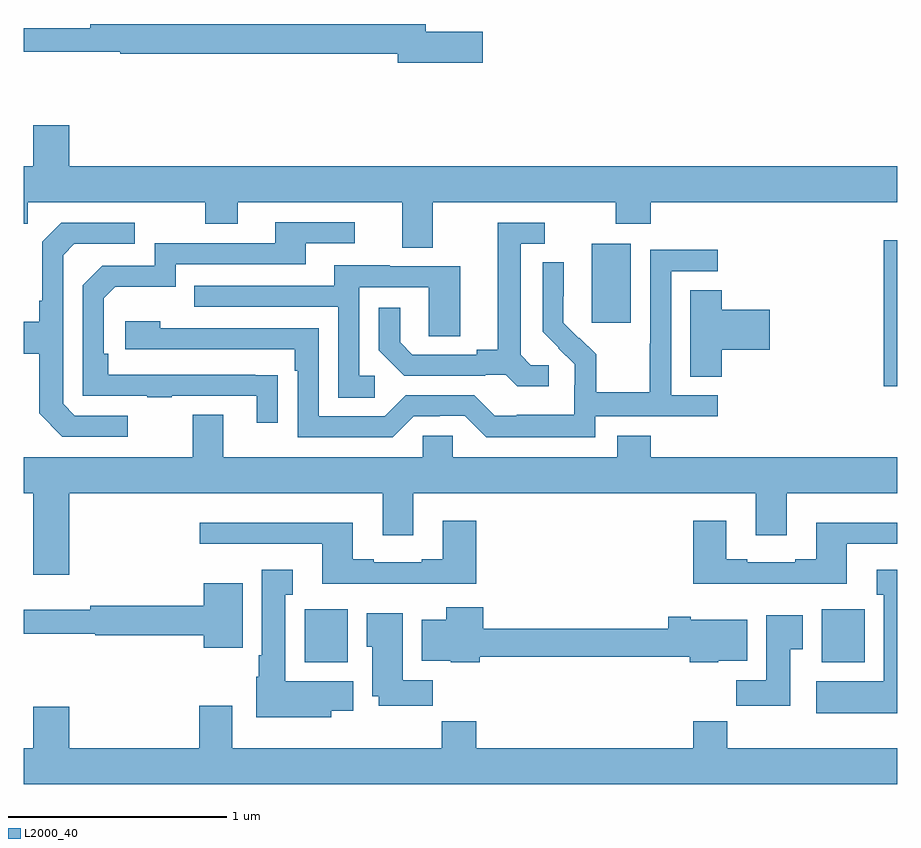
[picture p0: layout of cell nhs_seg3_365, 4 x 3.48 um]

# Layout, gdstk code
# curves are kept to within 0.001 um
import gdstk
lib = gdstk.Library(unit=1e-6, precision=1e-09)
def R(c, l, rs):  # rectangles x0, y0, x1, y1
    for r in rs: c.add(gdstk.rectangle(r[:2], r[2:], *l))
def P(c, l, *ps):  # polygons
    for p in ps: c.add(gdstk.Polygon(p, *l))
L2000_40 = (2000, 40)

nhs_seg3_365 = lib.new_cell('nhs_seg3_365')
R(nhs_seg3_365, L2000_40, [(130.286,697.478,130.483,697.72), (132.653,697.478,132.85,697.72), (132.938,698.742,133,699.409), (131.6,699.033,131.779,699.394)])
P(nhs_seg3_365, L2000_40, [(131.101,700.364),(130.84,700.364),(130.84,700.4),(129.304,700.4),(129.304,700.381),(129,700.381),(129,700.272),(129.443,700.272),(129.443,700.264),(130.712,700.264),(130.712,700.222),(131.101,700.222)],
  [(130.873,699.584),(131.71,699.584),(131.71,699.485),(131.87,699.485),(131.87,699.584),(133,699.584),(133,699.748),(129.208,699.748),(129.208,699.937),(129.044,699.937),(129.044,699.748),(129,699.748),(129,699.485),(129.018,699.485),(129.018,699.584),(129.832,699.584),(129.832,699.485),(129.979,699.485),(129.979,699.584),(130.733,699.584),(130.733,699.376),(130.873,699.376)],
  [(130.163,698.792),(129.386,698.793),(129.386,698.89),(129.366,698.89),(129.366,699.144),(129.419,699.197),(129.696,699.197),(129.696,699.3),(130.291,699.3),(130.291,699.396),(130.516,699.396),(130.516,699.492),(130.151,699.492),(130.151,699.396),(129.6,699.396),(129.6,699.294),(129.36,699.294),(129.27,699.204),(129.27,698.697),(129.565,698.697),(129.565,698.692),(129.677,698.692),(129.677,698.697),(130.067,698.697),(130.067,698.574),(130.163,698.574)],
  [(131.404,698.838),(131.322,698.838),(131.275,698.885),(131.275,699.393),(131.386,699.393),(131.386,699.489),(131.171,699.489),(131.171,698.909),(131.075,698.909),(131.075,698.886),(130.78,698.886),(130.723,698.943),(130.723,699.1),(130.626,699.1),(130.626,698.906),(130.742,698.79),(131.114,698.79),(131.114,698.793),(131.208,698.793),(131.26,698.741),(131.404,698.741)],
  [(129.477,698.607),(129.234,698.607),(129.18,698.661),(129.18,699.342),(129.231,699.393),(129.508,699.393),(129.508,699.489),(129.171,699.489),(129.084,699.402),(129.084,699.133),(129.072,699.133),(129.072,699.037),(129,699.037),(129,698.89),(129.072,698.89),(129.072,698.617),(129.177,698.511),(129.477,698.511)],
  [(131.616,698.604),(132.178,698.604),(132.178,698.7),(131.964,698.7),(131.964,699.267),(132.178,699.267),(132.178,699.366),(131.868,699.366),(131.868,698.936),(131.866,698.936),(131.866,698.713),(131.621,698.713),(131.621,698.887),(131.544,698.964),(131.541,698.961),(131.471,699.032),(131.472,699.308),(131.376,699.308),(131.376,698.99),(131.522,698.842),(131.522,698.745),(131.52,698.745),(131.52,698.611),(131.257,698.611),(131.257,698.607),(131.157,698.607),(131.064,698.7),(130.749,698.7),(130.653,698.604),(130.35,698.604),(130.35,699.006),(129.626,699.006),(129.626,699.04),(129.465,699.04),(129.465,698.91),(130.241,698.91),(130.241,698.813),(130.254,698.813),(130.254,698.508),(130.689,698.508),(130.785,698.604),(130.904,698.604),(130.904,698.607),(131.019,698.607),(131.119,698.507),(131.616,698.507)],
  [(130.608,698.79),(130.536,698.79),(130.536,699.195),(130.854,699.195),(130.854,698.971),(130.999,698.971),(130.999,699.291),(130.675,699.291),(130.675,699.295),(130.421,699.295),(130.421,699.201),(129.781,699.201),(129.781,699.105),(130.44,699.105),(130.44,698.689),(130.608,698.689)],
  [(132.197,698.909),(132.415,698.909),(132.415,699.092),(132.197,699.092),(132.197,699.182),(132.053,699.182),(132.053,698.785),(132.197,698.785)],
  [(129.208,698.252),(130.643,698.252),(130.643,698.058),(130.783,698.058),(130.783,698.252),(132.353,698.252),(132.353,698.058),(132.493,698.058),(132.493,698.252),(133,698.252),(133,698.416),(131.87,698.416),(131.87,698.515),(131.717,698.515),(131.717,698.416),(130.965,698.416),(130.965,698.514),(130.827,698.514),(130.827,698.416),(129.913,698.416),(129.913,698.611),(129.773,698.611),(129.773,698.416),(129,698.416),(129,698.252),(129.044,698.252),(129.044,697.878),(129.208,697.878)],
  [(131.072,698.125),(130.919,698.125),(130.919,697.948),(130.823,697.948),(130.823,697.935),(130.603,697.935),(130.603,697.948),(130.507,697.948),(130.507,698.116),(129.807,698.116),(129.807,698.019),(130.367,698.019),(130.367,697.838),(131.072,697.838)],
  [(132.769,698.019),(133,698.019),(133,698.116),(132.629,698.116),(132.629,697.948),(132.533,697.948),(132.533,697.935),(132.313,697.935),(132.313,697.948),(132.217,697.948),(132.217,698.125),(132.065,698.125),(132.065,697.838),(132.769,697.838)],
  [(133,697.9),(132.905,697.9),(132.905,697.787),(132.938,697.787),(132.938,697.39),(132.629,697.39),(132.629,697.244),(133,697.244)],
  [(130.408,697.256),(130.51,697.256),(130.51,697.39),(130.198,697.39),(130.198,697.787),(130.231,697.787),(130.231,697.9),(130.091,697.9),(130.091,697.51),(130.076,697.51),(130.076,697.41),(130.064,697.41),(130.064,697.226),(130.408,697.226)],
  [(130.003,697.84),(129.824,697.84),(129.824,697.736),(129.304,697.736),(129.304,697.717),(129,697.717),(129,697.608),(129.328,697.608),(129.328,697.6),(129.824,697.6),(129.824,697.544),(130.003,697.544)],
  [(131.087,697.503),(132.05,697.503),(132.05,697.478),(132.18,697.478),(132.18,697.484),(132.313,697.484),(132.313,697.672),(132.055,697.672),(132.055,697.685),(131.951,697.685),(131.951,697.631),(131.105,697.631),(131.105,697.729),(130.934,697.729),(130.934,697.672),(130.823,697.672),(130.823,697.484),(130.956,697.484),(130.956,697.478),(131.087,697.478)],
  [(130.874,697.396),(130.735,697.396),(130.735,697.702),(130.571,697.702),(130.571,697.548),(130.595,697.548),(130.595,697.322),(130.625,697.322),(130.625,697.278),(130.874,697.278)],
  [(132.511,697.537),(132.568,697.537),(132.568,697.693),(132.401,697.693),(132.401,697.396),(132.262,697.396),(132.262,697.278),(132.511,697.278)],
  [(133,697.084),(132.221,697.084),(132.221,697.208),(132.065,697.208),(132.065,697.084),(131.072,697.084),(131.072,697.208),(130.915,697.208),(130.915,697.084),(129.955,697.084),(129.955,697.279),(129.803,697.279),(129.803,697.084),(129.208,697.084),(129.208,697.273),(129.044,697.273),(129.044,697.084),(129,697.084),(129,696.92),(133,696.92)])

lib.write_gds('nhs_seg3_365.gds')
